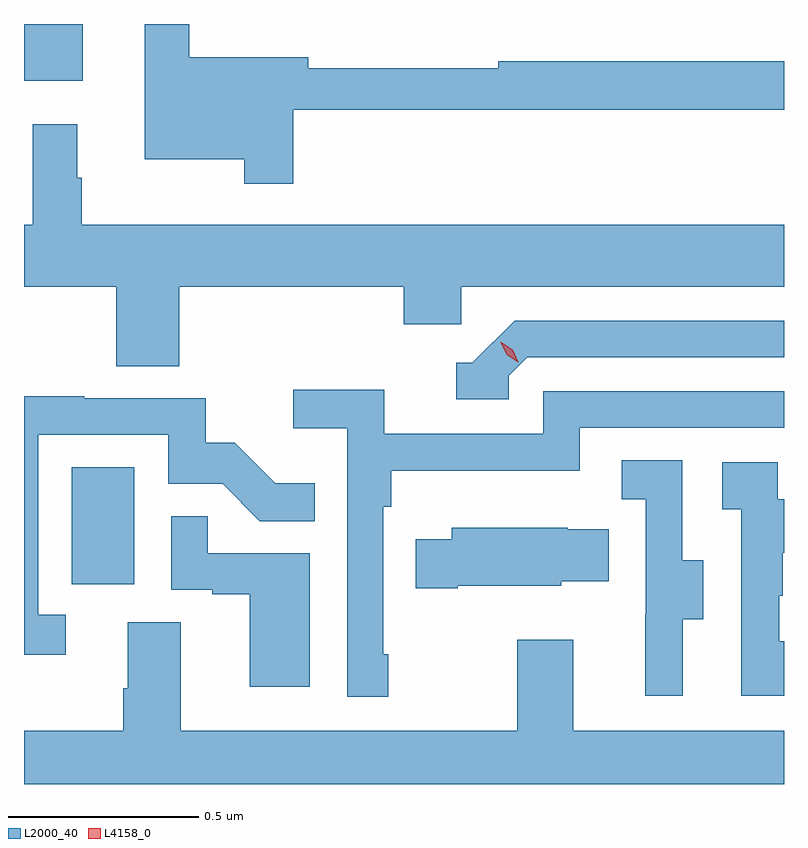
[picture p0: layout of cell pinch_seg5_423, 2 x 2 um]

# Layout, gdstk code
import gdstk
lib = gdstk.Library(unit=1e-6, precision=1e-09)
def R(c, l, rs):  # rectangles x0, y0, x1, y1
    for r in rs: c.add(gdstk.rectangle(r[:2], r[2:], *l))
def P(c, l, *ps):  # polygons
    for p in ps: c.add(gdstk.Polygon(p, *l))
L2000_40 = (2000, 40)
L4158_0 = (4158, 0)

pinch_seg5_423 = lib.new_cell('pinch_seg5_423')
R(pinch_seg5_423, L2000_40, [(993.158,862.638,993.322,862.945), (993.032,863.963,993.187,864.112)])
P(pinch_seg5_423, L2000_40, [(993.74,863.886),(995.032,863.886),(995.032,864.014),(994.28,864.014),(994.28,863.996),(993.78,863.996),(993.78,864.025),(993.467,864.025),(993.467,864.112),(993.35,864.112),(993.35,863.756),(993.612,863.756),(993.612,863.691),(993.74,863.691)],
  [(993.44,863.42),(994.031,863.42),(994.031,863.322),(994.182,863.322),(994.182,863.42),(995.032,863.42),(995.032,863.584),(993.184,863.584),(993.184,863.708),(993.172,863.708),(993.172,863.848),(993.055,863.848),(993.055,863.584),(993.032,863.584),(993.032,863.42),(993.275,863.42),(993.275,863.212),(993.44,863.212)],
  [(994.308,863.187),(994.356,863.235),(995.032,863.235),(995.032,863.331),(994.323,863.331),(994.212,863.22),(994.169,863.22),(994.169,863.124),(994.308,863.124)],
  [(993.991,862.453),(993.978,862.453),(993.978,862.841),(993.998,862.841),(993.998,862.937),(994.494,862.937),(994.494,863.049),(995.032,863.049),(995.032,863.145),(994.398,863.145),(994.398,863.034),(993.98,863.034),(993.98,863.15),(993.741,863.15),(993.741,863.048),(993.882,863.048),(993.882,862.341),(993.991,862.341)],
  [(993.142,862.557),(993.069,862.557),(993.069,863.031),(993.411,863.031),(993.411,862.902),(993.555,862.902),(993.653,862.804),(993.797,862.804),(993.797,862.903),(993.693,862.903),(993.586,863.01),(993.51,863.01),(993.51,863.127),(993.191,863.127),(993.191,863.132),(993.032,863.132),(993.032,862.452),(993.142,862.452)],
  [(994.765,862.546),(994.819,862.546),(994.819,862.701),(994.764,862.701),(994.764,862.964),(994.605,862.964),(994.605,862.861),(994.668,862.861),(994.668,862.557),(994.667,862.557),(994.667,862.344),(994.765,862.344)],
  [(995.032,862.488),(995.019,862.488),(995.019,862.607),(995.029,862.607),(995.029,862.721),(995.032,862.721),(995.032,862.861),(995.016,862.861),(995.016,862.959),(994.869,862.959),(994.869,862.835),(994.92,862.835),(994.92,862.344),(995.032,862.344)],
  [(993.784,862.719),(993.515,862.719),(993.515,862.817),(993.42,862.817),(993.42,862.623),(993.527,862.623),(993.527,862.611),(993.626,862.611),(993.626,862.368),(993.784,862.368)],
  [(994.174,862.634),(994.446,862.634),(994.446,862.646),(994.571,862.646),(994.571,862.783),(994.463,862.783),(994.463,862.786),(994.157,862.786),(994.157,862.756),(994.063,862.756),(994.063,862.627),(994.174,862.627)],
  [(995.032,862.252),(994.477,862.252),(994.477,862.492),(994.33,862.492),(994.33,862.252),(993.445,862.252),(993.445,862.538),(993.305,862.538),(993.305,862.364),(993.293,862.364),(993.293,862.252),(993.032,862.252),(993.032,862.112),(995.032,862.112)])
P(pinch_seg5_423, L4158_0, [(994.333,863.222),(994.303,863.242),(994.287,863.275),(994.287,863.275),(994.288,863.275),(994.318,863.255),(994.333,863.222),(994.333,863.222)])

lib.write_gds('pinch_seg5_423.gds')
